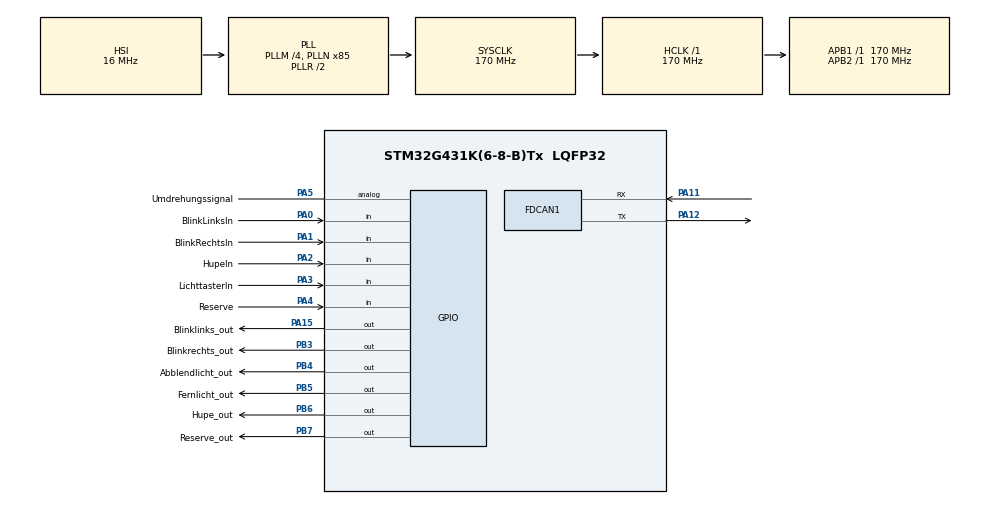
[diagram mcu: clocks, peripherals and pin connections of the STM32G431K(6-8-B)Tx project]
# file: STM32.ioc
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FDCAN1.CalculateBaudRateNominal=3541666
FDCAN1.CalculateTimeBitNominal=282
FDCAN1.CalculateTimeQuantumNominal=94.11764705882354
Mcu.Family=STM32G4
Mcu.Name=STM32G431K(6-8-B)Tx
Mcu.Package=LQFP32
NVIC.PriorityGroup=NVIC_PRIORITYGROUP_4
PA0.GPIO_Label=BlinkLinksIn
PA0.GPIO_PuPd=GPIO_PULLUP
PA0.Signal=GPIO_Input
PA1.GPIO_Label=BlinkRechtsIn
PA1.GPIO_PuPd=GPIO_PULLUP
PA1.Signal=GPIO_Input
PA11.Mode=FDCAN_Activate
PA11.Signal=FDCAN1_RX
PA12.Mode=FDCAN_Activate
PA12.Signal=FDCAN1_TX
PA13.Mode=Serial_Wire
PA13.Signal=SYS_JTMS-SWDIO
PA14.Mode=Serial_Wire
PA14.Signal=SYS_JTCK-SWCLK
PA15.GPIO_Label=Blinklinks_out
PA15.Signal=GPIO_Output
PA2.GPIO_Label=HupeIn
PA2.GPIO_PuPd=GPIO_PULLUP
PA2.Signal=GPIO_Input
PA3.GPIO_Label=LichttasterIn
PA3.GPIO_Mode=GPIO_MODE_INPUT
PA3.GPIO_PuPd=GPIO_NOPULL
PA3.Signal=GPIO_Input
PA4.GPIO_Label=Reserve
PA4.GPIO_PuPd=GPIO_PULLUP
PA4.Signal=GPIO_Input
PA5.GPIO_Label=Umdrehungssignal
PA5.Signal=GPIO_Analog
PB3.GPIO_Label=Blinkrechts_out
PB3.Signal=GPIO_Output
PB4.GPIO_Label=Abblendlicht_out
PB4.Signal=GPIO_Output
PB5.GPIO_Label=Fernlicht_out
PB5.Signal=GPIO_Output
PB6.GPIO_Label=Hupe_out
PB6.Signal=GPIO_Output
PB7.GPIO_Label=Reserve_out
PB7.Signal=GPIO_Output
ProjectManager.HeapSize=0x200
ProjectManager.StackSize=0x400
ProjectManager.TargetToolchain=STM32CubeIDE
RCC.ADC12Freq_Value=170000000
RCC.AHBFreq_Value=170000000
RCC.APB1Freq_Value=170000000
RCC.APB1TimFreq_Value=170000000
RCC.APB2Freq_Value=170000000
RCC.APB2TimFreq_Value=170000000
RCC.CortexFreq_Value=170000000
RCC.EXTERNAL_CLOCK_VALUE=12288000
RCC.HCLKFreq_Value=170000000
RCC.HSE_VALUE=8000000
RCC.HSI48_VALUE=48000000
RCC.HSI_VALUE=16000000
RCC.LSE_VALUE=32768
RCC.PLLM=RCC_PLLM_DIV4
RCC.PLLN=85
RCC.SYSCLKFreq_VALUE=170000000
RCC.SYSCLKSource=RCC_SYSCLKSOURCE_PLLCLK
RCC.USBFreq_Value=170000000
RCC.VCOOutputFreq_Value=340000000
VP_SYS_VS_DBSignals.Mode=DisableDeadBatterySignals
board=custom

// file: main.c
/* USER CODE BEGIN Header */
/**
  ******************************************************************************
  * @file           : main.c
  * @brief          : Main program body
  ******************************************************************************
  * @attention
  *
  * Copyright (c) 2026 STMicroelectronics.
  * All rights reserved.
  *
  * This software is licensed under terms that can be found in the LICENSE file
  * in the root directory of this software component.
  * If no LICENSE file comes with this software, it is provided AS-IS.
  *
  ******************************************************************************
  */
/* USER CODE END Header */
#include "main.h"

/* USER CODE BEGIN Includes */
#include "buttons.h"
#include "events.h"
#include "blinker.h"
#include "vehicle.h"
#include "outputs.h"
#include "can.h"
#include "lights.h"
#include <string.h>
/* USER CODE END Includes */

FDCAN_HandleTypeDef hfdcan1;

void SystemClock_Config(void);
static void MX_GPIO_Init(void);
static void MX_FDCAN1_Init(void);

int main(void)
{

  /* MCU Configuration--------------------------------------------------------*/

  /* Reset of all peripherals, Initializes the Flash interface and the Systick. */
  HAL_Init();

  /* Configure the system clock */
  SystemClock_Config();

  /* Initialize all configured peripherals */
  MX_GPIO_Init();
  MX_FDCAN1_Init();

  /* USER CODE BEGIN 2 */
  HAL_StatusTypeDef canStartResult;

  canStartResult = HAL_FDCAN_Start(&hfdcan1);

  if (canStartResult != HAL_OK)
  {
      Error_Handler();
  }

  SCB->VTOR = 0x08000000U;
  __DSB();
  __ISB();

  HAL_Delay(300);

  Buttons_Init();
  Blinker_Init();
  Vehicle_Init();
  Lights_Init();

  /* USER CODE END 2 */

  /* Infinite loop */
  /* USER CODE BEGIN WHILE */

  uint32_t heartbeatTimer = 0;
  uint32_t canTimer = 0;
  Outputs_t lastOutputs = {0};

  while (1)
  {
      uint32_t now = HAL_GetTick();

      /* Heartbeat alle 500 ms */
      if ((now - heartbeatTimer) >= 500U)
      {
          heartbeatTimer = now;
          Can_SendHeartbeat();
      }

      Buttons_Update();

      Event_t event;

      while (Event_Get(&event))
      {
          Vehicle_HandleEvent(event);
          Blinker_HandleEvent(event);
      }

      Blinker_Update();
      Outputs_Update();

      /* Status sofort senden, wenn sich ein Ausgang ändert */
      if (memcmp(&lastOutputs, &outputs, sizeof(Outputs_t)) != 0)
      {
          lastOutputs = outputs;
          Can_SendStatusFrame();
      }

      /* Zusätzlich regelmäßig Status senden */
      if ((now - canTimer) >= 800U)
      {
          canTimer = now;
          Can_SendStatusFrame();
      }
  }
  /* USER CODE END 3 */
}

void SystemClock_Config(void)
{
  RCC_OscInitTypeDef RCC_OscInitStruct = {0};
  RCC_ClkInitTypeDef RCC_ClkInitStruct = {0};

  /** Configure the main internal regulator output voltage
  */
  HAL_PWREx_ControlVoltageScaling(PWR_REGULATOR_VOLTAGE_SCALE1_BOOST);

  /** Initializes the RCC Oscillators according to the specified parameters
  * in the RCC_OscInitTypeDef structure.
  */
  RCC_OscInitStruct.OscillatorType = RCC_OSCILLATORTYPE_HSI;
  RCC_OscInitStruct.HSIState = RCC_HSI_ON;
  RCC_OscInitStruct.HSICalibrationValue = RCC_HSICALIBRATION_DEFAULT;
  RCC_OscInitStruct.PLL.PLLState = RCC_PLL_ON;
  RCC_OscInitStruct.PLL.PLLSource = RCC_PLLSOURCE_HSI;
  RCC_OscInitStruct.PLL.PLLM = RCC_PLLM_DIV4;
  RCC_OscInitStruct.PLL.PLLN = 85;
  RCC_OscInitStruct.PLL.PLLP = RCC_PLLP_DIV2;
  RCC_OscInitStruct.PLL.PLLQ = RCC_PLLQ_DIV2;
  RCC_OscInitStruct.PLL.PLLR = RCC_PLLR_DIV2;
  if (HAL_RCC_OscConfig(&RCC_OscInitStruct) != HAL_OK)
  {
    Error_Handler();
  }

  /** Initializes the CPU, AHB and APB buses clocks
  */
  RCC_ClkInitStruct.ClockType = RCC_CLOCKTYPE_HCLK|RCC_CLOCKTYPE_SYSCLK
                              |RCC_CLOCKTYPE_PCLK1|RCC_CLOCKTYPE_PCLK2;
  RCC_ClkInitStruct.SYSCLKSource = RCC_SYSCLKSOURCE_PLLCLK;
  RCC_ClkInitStruct.AHBCLKDivider = RCC_SYSCLK_DIV1;
  RCC_ClkInitStruct.APB1CLKDivider = RCC_HCLK_DIV1;
  RCC_ClkInitStruct.APB2CLKDivider = RCC_HCLK_DIV1;

  if (HAL_RCC_ClockConfig(&RCC_ClkInitStruct, FLASH_LATENCY_4) != HAL_OK)
  {
    Error_Handler();
  }
}

static void MX_FDCAN1_Init(void)
{

  hfdcan1.Instance = FDCAN1;
  hfdcan1.Init.ClockDivider = FDCAN_CLOCK_DIV1;
  hfdcan1.Init.FrameFormat = FDCAN_FRAME_CLASSIC;
  hfdcan1.Init.Mode = FDCAN_MODE_NORMAL;
  hfdcan1.Init.AutoRetransmission = ENABLE;
  hfdcan1.Init.TransmitPause = DISABLE;
  hfdcan1.Init.ProtocolException = DISABLE;
  hfdcan1.Init.NominalPrescaler = 20;
  hfdcan1.Init.NominalSyncJumpWidth = 2;
  hfdcan1.Init.NominalTimeSeg1 = 14;
  hfdcan1.Init.NominalTimeSeg2 = 2;
  hfdcan1.Init.DataPrescaler = 1;
  hfdcan1.Init.DataSyncJumpWidth = 1;
  hfdcan1.Init.DataTimeSeg1 = 1;
  hfdcan1.Init.DataTimeSeg2 = 1;
  hfdcan1.Init.StdFiltersNbr = 0;
  hfdcan1.Init.ExtFiltersNbr = 0;
  hfdcan1.Init.TxFifoQueueMode = FDCAN_TX_FIFO_OPERATION;
  if (HAL_FDCAN_Init(&hfdcan1) != HAL_OK)
  {
    Error_Handler();
  }

}

static void MX_GPIO_Init(void)
{
  GPIO_InitTypeDef GPIO_InitStruct = {0};

  /* GPIO Ports Clock Enable */
  __HAL_RCC_GPIOA_CLK_ENABLE();
  __HAL_RCC_GPIOB_CLK_ENABLE();

  /*Configure GPIO pin Output Level */
  HAL_GPIO_WritePin(Blinklinks_out_GPIO_Port, Blinklinks_out_Pin, GPIO_PIN_RESET);

  /*Configure GPIO pin Output Level */
  HAL_GPIO_WritePin(GPIOB, Blinkrechts_out_Pin|Abblendlicht_out_Pin|Fernlicht_out_Pin|Hupe_out_Pin
                          |Reserve_out_Pin, GPIO_PIN_RESET);

  /*Configure GPIO pins : BlinkLinksIn_Pin BlinkRechtsIn_Pin HupeIn_Pin LichttasterIn_Pin
                           Reserve_Pin */
  GPIO_InitStruct.Pin = BlinkLinksIn_Pin|BlinkRechtsIn_Pin|HupeIn_Pin|LichttasterIn_Pin
                          |Reserve_Pin;
  GPIO_InitStruct.Mode = GPIO_MODE_INPUT;
  GPIO_InitStruct.Pull = GPIO_PULLUP;
  HAL_GPIO_Init(GPIOA, &GPIO_InitStruct);

  /*Configure GPIO pin : Umdrehungssignal_Pin */
  GPIO_InitStruct.Pin = Umdrehungssignal_Pin;
  GPIO_InitStruct.Mode = GPIO_MODE_ANALOG;
  GPIO_InitStruct.Pull = GPIO_NOPULL;
  HAL_GPIO_Init(Umdrehungssignal_GPIO_Port, &GPIO_InitStruct);

  /*Configure GPIO pin : Blinklinks_out_Pin */
  GPIO_InitStruct.Pin = Blinklinks_out_Pin;
  GPIO_InitStruct.Mode = GPIO_MODE_OUTPUT_PP;
  GPIO_InitStruct.Pull = GPIO_NOPULL;
  GPIO_InitStruct.Speed = GPIO_SPEED_FREQ_LOW;
  HAL_GPIO_Init(Blinklinks_out_GPIO_Port, &GPIO_InitStruct);

  /*Configure GPIO pins : Blinkrechts_out_Pin Abblendlicht_out_Pin Fernlicht_out_Pin Hupe_out_Pin
                           Reserve_out_Pin */
  GPIO_InitStruct.Pin = Blinkrechts_out_Pin|Abblendlicht_out_Pin|Fernlicht_out_Pin|Hupe_out_Pin
                          |Reserve_out_Pin;
  GPIO_InitStruct.Mode = GPIO_MODE_OUTPUT_PP;
  GPIO_InitStruct.Pull = GPIO_NOPULL;
  GPIO_InitStruct.Speed = GPIO_SPEED_FREQ_LOW;
  HAL_GPIO_Init(GPIOB, &GPIO_InitStruct);

}

void Error_Handler(void)
{
  __disable_irq();
  while (1)
  {
  }
}
